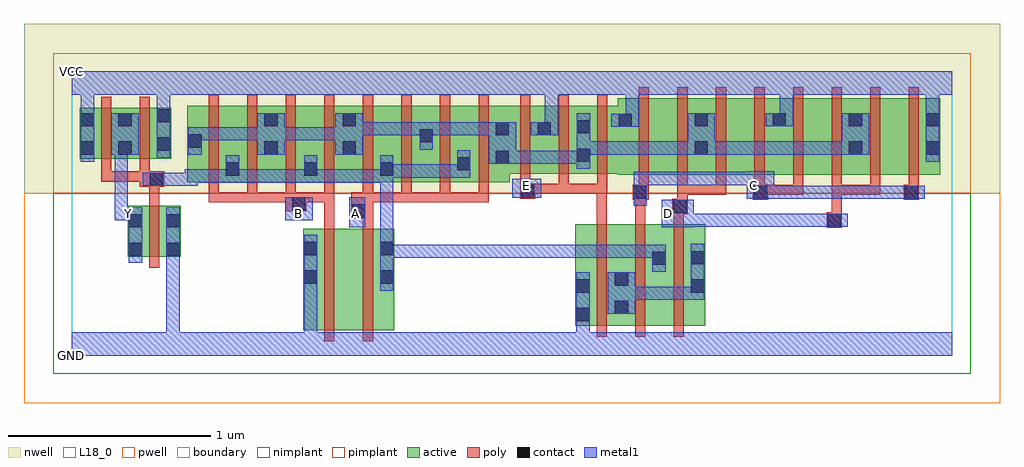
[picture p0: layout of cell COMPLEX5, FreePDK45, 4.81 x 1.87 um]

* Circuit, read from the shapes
.subckt COMPLEX5 A B C D E GND VCC Y
M1 GND n1 Y VSUBS nfet w=0.25u l=0.05u
M2 n2 B GND VSUBS nfet w=0.5u l=0.05u
M3 n1 A n2 VSUBS nfet w=0.5u l=0.05u
M4 n3 E GND VSUBS nfet w=0.5u l=0.05u
M5 n1 C n3 VSUBS nfet w=0.5u l=0.05u
M6 n3 D n1 VSUBS nfet w=0.5u l=0.05u
M7 Y n1 VCC n4 pfet w=0.25u l=0.05u m=2
M8 n1 B n5 n4 pfet w=0.375u l=0.05u m=4
M9 n1 A n5 n4 pfet w=0.375u l=0.05u m=4
M10 VCC E n5 n4 pfet w=0.333u l=0.05u m=3
M11 n6 C VCC n4 pfet w=0.375u l=0.05u
M12 n5 D n6 n4 pfet w=0.375u l=0.05u
M13 n7 D n5 n4 pfet w=0.375u l=0.05u
M14 VCC C n7 n4 pfet w=0.375u l=0.05u
M15 n8 C VCC n4 pfet w=0.375u l=0.05u
M16 n5 D n8 n4 pfet w=0.375u l=0.05u
M17 n9 D n5 n4 pfet w=0.375u l=0.05u
M18 VCC C n9 n4 pfet w=0.375u l=0.05u
.ends

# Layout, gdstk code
import gdstk
lib = gdstk.Library(unit=1e-6, precision=1e-09)
def R(c, l, rs):  # rectangles x0, y0, x1, y1
    for r in rs: c.add(gdstk.rectangle(r[:2], r[2:], *l))
def A(c, l, x, y, w, h, nx, ny, dx, dy):  # array of equal rectangles
    R(c, l, [(x+i*dx, y+j*dy, x+i*dx+w, y+j*dy+h) for i in range(nx) for j in range(ny)])
active = (1, 0)
pwell = (2, 0)
nwell = (3, 0)
nimplant = (4, 0)
pimplant = (5, 0)
poly = (9, 0)
contact = (10, 0)
metal1 = (11, 0)
L18_0 = (18, 0)
boundary = (235, 0)

complex5 = lib.new_cell('COMPLEX5')
R(complex5, active, [(1.14,0.125,1.365,0.625), (1.365,0.125,1.59,0.625), (2.482,0.147,2.747,0.647), (2.482,0.147,2.557,0.647), (2.672,0.147,2.932,0.647), (2.857,0.147,3.122,0.647), (2.672,0.2,2.747,0.592), (1.14,0.245,1.215,0.625), (1.515,0.245,1.59,0.625), (2.857,0.245,2.932,0.592), (3.047,0.245,3.122,0.647), (0.277,0.487,0.352,0.737), (0.277,0.487,0.537,0.737), (0.462,0.487,0.537,0.737), (0.57,0.855,0.83,1.23), (0.57,0.855,0.645,1.2), (0.755,0.855,1.02,1.23), (0.755,0.855,0.83,1.07), (0.945,0.855,1.215,1.23), (1.14,0.855,1.405,1.23), (1.14,0.855,1.215,1.07), (1.33,0.855,1.59,1.23), (1.515,0.855,1.785,1.23), (1.515,0.855,1.59,1.07), (1.71,0.855,1.97,1.23), (1.895,0.855,2.16,1.23), (2.69,0.892,2.915,1.267), (2.915,0.892,3.14,1.267), (3.065,0.892,3.295,1.267), (3.295,0.892,3.525,1.267), (3.45,0.892,3.675,1.267), (3.675,0.892,3.9,1.267), (3.825,0.892,4.055,1.267), (4.055,0.892,4.28,1.267), (4.205,0.892,4.28,1.23), (2.085,0.897,2.367,1.23), (2.292,0.897,2.56,1.23), (2.485,0.897,2.765,1.23), (1.895,0.907,1.97,1.07), (0.945,0.932,1.02,1.2), (1.33,0.932,1.405,1.2), (1.71,0.932,1.785,1.2), (3.065,0.932,3.14,1.2), (3.45,0.932,3.525,1.23), (3.825,0.932,3.9,1.2), (2.085,0.94,2.16,1.2), (2.485,0.95,2.56,1.2), (0.04,0.97,0.3,1.22), (0.04,0.97,0.115,1.2), (0.225,0.97,0.49,1.22), (0.225,0.97,0.3,1.2), (0.415,0.97,0.49,1.22), (2.292,0.975,2.367,1.187), (2.69,0.975,2.765,1.197)])
R(complex5, pwell, [(-0.235,-0.235,4.575,0.8)])
R(complex5, nwell, [(-0.235,0.8,4.575,1.635)])
R(complex5, nimplant, [(-0.09,-0.09,4.43,0.8)])
R(complex5, pimplant, [(-0.09,0.8,4.43,1.49)])
A(complex5, poly, 2.587, 0.092, 0.05, 0.61, 3, 1, 0.19, 0)
A(complex5, poly, 0.675, 0.755, 0.05, 0.095, 8, 1, 0.19, 0)
A(complex5, poly, 1.435, 0.755, 0.24, 0.05, 3, 1, 0.19, 0)
A(complex5, poly, 1.435, 0.755, 0.05, 0.05, 3, 1, 0.19, 0)
A(complex5, poly, 2.795, 0.792, 0.05, 0.095, 8, 1, 0.19, 0)
A(complex5, poly, 2.21, 0.797, 0.05, 0.095, 3, 1, 0.19, 0)
A(complex5, poly, 0.675, 0.8, 0.05, 0.485, 8, 1, 0.19, 0)
A(complex5, poly, 2.795, 0.837, 0.05, 0.485, 8, 1, 0.19, 0)
A(complex5, poly, 2.21, 0.842, 0.05, 0.443, 3, 1, 0.19, 0)
R(complex5, poly, [(1.245,0.07,1.295,0.68), (1.435,0.07,1.485,0.68), (0.382,0.432,0.432,0.792), (1.245,0.63,1.295,0.805), (1.435,0.63,1.485,0.725), (3.72,0.63,3.795,0.705), (2.587,0.652,2.637,0.847), (2.777,0.652,2.827,0.817), (2.967,0.652,3.017,0.747), (3.745,0.655,3.795,0.842), (1.377,0.675,1.485,0.805), (1.435,0.675,1.485,0.725), (1.435,0.675,1.485,0.725), (2.96,0.697,3.035,0.772), (1.055,0.71,1.157,0.805), (2.985,0.722,3.035,0.842), (0.382,0.742,0.432,0.882), (0.675,0.755,0.915,0.805), (0.675,0.755,0.725,0.805), (0.675,0.755,0.725,0.805), (0.675,0.755,0.725,0.805), (0.865,0.755,1.105,0.805), (0.865,0.755,0.915,0.805), (0.865,0.755,0.915,0.805), (0.865,0.755,0.915,0.805), (1.107,0.755,1.157,0.805), (1.107,0.755,1.157,0.805), (1.107,0.755,1.295,0.805), (1.245,0.755,1.295,0.805), (1.245,0.755,1.295,0.805), (1.245,0.755,1.295,0.805), (1.435,0.755,1.485,0.805), (1.815,0.755,1.865,0.805), (1.815,0.755,1.865,0.805), (2.005,0.755,2.055,0.805), (2.005,0.755,2.055,0.805), (2.005,0.755,2.055,0.805), (2.765,0.767,2.845,0.842), (2.777,0.767,2.827,0.817), (2.777,0.767,2.827,0.817), (3.357,0.767,3.432,0.842), (4.1,0.767,4.175,0.842), (2.21,0.772,2.285,0.847), (2.985,0.792,3.225,0.842), (2.985,0.792,3.035,0.842), (3.175,0.792,3.225,0.842), (3.175,0.792,3.225,0.842), (3.175,0.792,3.225,0.842), (3.382,0.792,3.432,0.842), (3.382,0.792,3.432,0.842), (3.382,0.792,3.605,0.842), (3.555,0.792,3.605,0.842), (3.745,0.792,3.985,0.842), (3.745,0.792,3.795,0.842), (3.745,0.792,3.795,0.842), (3.745,0.792,3.795,0.842), (3.935,0.792,3.985,0.842), (2.235,0.797,2.285,0.847), (2.235,0.797,2.285,0.847), (2.235,0.797,2.45,0.847), (2.4,0.797,2.45,0.847), (2.4,0.797,2.637,0.847), (2.587,0.797,2.637,0.847), (2.587,0.797,2.637,0.847), (2.587,0.797,2.637,0.847), (2.587,0.797,2.637,0.847), (2.587,0.797,2.64,0.847), (0.335,0.832,0.455,0.907), (0.382,0.832,0.432,0.882), (0.382,0.832,0.432,0.882), (0.145,0.857,0.385,0.907), (0.145,0.857,0.195,0.907), (0.145,0.857,0.195,0.907), (0.145,0.857,0.195,0.907), (0.145,0.857,0.195,0.965), (0.335,0.857,0.385,0.965), (0.145,0.915,0.195,1.275), (0.335,0.915,0.385,1.275)])
R(complex5, contact, [(2.487,0.17,2.552,0.235), (2.677,0.205,2.742,0.27), (2.487,0.31,2.552,0.375), (3.052,0.31,3.117,0.375), (2.677,0.345,2.742,0.41), (1.145,0.355,1.21,0.42), (1.52,0.355,1.585,0.42), (2.862,0.447,2.927,0.512), (3.052,0.45,3.117,0.515), (0.282,0.492,0.347,0.557), (0.467,0.492,0.532,0.557), (1.145,0.495,1.21,0.56), (1.52,0.495,1.585,0.56), (0.282,0.632,0.347,0.697), (0.467,0.632,0.532,0.697), (3.725,0.635,3.79,0.7), (1.382,0.68,1.447,0.745), (2.965,0.702,3.03,0.767), (1.087,0.715,1.152,0.78), (2.77,0.772,2.835,0.837), (3.362,0.772,3.427,0.837), (4.105,0.772,4.17,0.837), (2.215,0.777,2.28,0.842), (0.385,0.837,0.45,0.902), (0.76,0.887,0.825,0.952), (1.145,0.887,1.21,0.952), (1.52,0.887,1.585,0.952), (1.9,0.912,1.965,0.977), (2.09,0.945,2.155,1.01), (2.49,0.955,2.555,1.02), (0.045,0.99,0.11,1.055), (0.23,0.99,0.295,1.055), (0.95,0.99,1.015,1.055), (1.335,0.99,1.4,1.055), (3.07,0.99,3.135,1.055), (3.83,0.99,3.895,1.055), (4.21,0.99,4.275,1.055), (0.42,1.01,0.485,1.075), (0.575,1.025,0.64,1.09), (1.715,1.05,1.78,1.115), (2.09,1.085,2.155,1.15), (2.297,1.085,2.362,1.15), (2.49,1.095,2.555,1.16), (2.695,1.127,2.76,1.192), (0.045,1.13,0.11,1.195), (0.23,1.13,0.295,1.195), (0.95,1.13,1.015,1.195), (1.335,1.13,1.4,1.195), (3.07,1.13,3.135,1.195), (3.455,1.13,3.52,1.195), (3.83,1.13,3.895,1.195), (4.21,1.13,4.275,1.195), (0.42,1.15,0.485,1.215)])
R(complex5, metal1, [(0,0,4.34,0.115), (0.467,0.05,0.532,0.115), (0.467,0.05,0.532,0.115), (0.467,0.05,0.532,0.522), (1.145,0.05,1.21,0.115), (1.145,0.05,1.21,0.115), (1.145,0.05,1.21,0.385), (2.487,0.05,2.552,0.115), (2.487,0.05,2.552,0.115), (2.487,0.05,2.552,0.2), (2.487,0.135,2.552,0.41), (2.642,0.205,2.777,0.41), (2.712,0.275,2.777,0.34), (2.712,0.275,2.777,0.34), (2.712,0.275,2.927,0.34), (2.862,0.275,2.927,0.34), (2.862,0.275,3.117,0.34), (3.052,0.275,3.117,0.55), (3.052,0.275,3.117,0.34), (3.052,0.275,3.117,0.34), (1.145,0.32,1.21,0.595), (1.52,0.32,1.585,0.595), (2.862,0.412,2.927,0.547), (0.282,0.457,0.347,0.732), (0.467,0.457,0.532,0.732), (0.467,0.457,0.532,0.522), (0.467,0.457,0.532,0.522), (0.467,0.457,0.532,0.522), (0.467,0.457,0.532,0.522), (1.52,0.482,1.585,0.547), (1.52,0.482,1.585,0.547), (1.52,0.482,1.827,0.547), (1.762,0.482,1.827,0.547), (1.762,0.482,1.827,0.547), (1.762,0.482,1.827,0.547), (1.762,0.482,1.982,0.547), (1.917,0.482,1.982,0.547), (1.917,0.482,1.982,0.547), (1.917,0.482,1.982,0.547), (1.917,0.482,2.19,0.547), (2.125,0.482,2.19,0.547), (2.125,0.482,2.19,0.547), (2.125,0.482,2.19,0.547), (2.125,0.482,2.327,0.547), (2.262,0.482,2.327,0.547), (2.262,0.482,2.327,0.547), (2.262,0.482,2.327,0.547), (2.262,0.482,2.465,0.547), (2.4,0.482,2.465,0.547), (2.4,0.482,2.465,0.547), (2.4,0.482,2.465,0.547), (2.4,0.482,2.777,0.547), (2.712,0.482,2.777,0.547), (2.712,0.482,2.777,0.547), (2.712,0.482,2.777,0.547), (2.712,0.482,2.927,0.547), (1.52,0.53,1.585,0.595), (1.52,0.53,1.585,0.595), (1.52,0.53,1.585,0.595), (1.52,0.53,1.585,0.595), (1.52,0.53,1.585,0.917), (1.367,0.632,1.447,0.78), (2.907,0.632,3.065,0.767), (3,0.635,3.065,0.7), (3,0.635,3.065,0.7), (3,0.635,3.255,0.7), (3.19,0.635,3.255,0.7), (3.19,0.635,3.307,0.7), (3.242,0.635,3.307,0.7), (3.242,0.635,3.462,0.7), (3.397,0.635,3.462,0.7), (3.397,0.635,3.462,0.7), (3.397,0.635,3.462,0.7), (3.397,0.635,3.6,0.7), (3.535,0.635,3.6,0.7), (3.535,0.635,3.6,0.7), (3.535,0.635,3.6,0.7), (3.535,0.635,3.755,0.7), (3.69,0.635,3.825,0.7), (0.212,0.667,0.277,0.732), (0.212,0.667,0.277,0.732), (0.212,0.667,0.347,0.732), (0.212,0.667,0.277,1.055), (0.282,0.667,0.347,0.732), (1.052,0.667,1.187,0.78), (2.77,0.737,2.835,0.905), (3.327,0.772,3.462,0.907), (3.397,0.772,3.462,0.837), (3.397,0.772,3.462,0.837), (3.397,0.772,3.6,0.837), (3.535,0.772,3.6,0.837), (3.535,0.772,3.6,0.837), (3.535,0.772,3.6,0.837), (3.535,0.772,3.737,0.837), (3.672,0.772,3.737,0.837), (3.672,0.772,3.737,0.837), (3.672,0.772,3.737,0.837), (3.672,0.772,3.997,0.837), (3.932,0.772,3.997,0.837), (3.932,0.772,4.135,0.837), (4.07,0.772,4.135,0.837), (4.07,0.772,4.135,0.837), (4.07,0.772,4.205,0.837), (2.172,0.777,2.315,0.872), (0.35,0.837,0.485,0.902), (0.42,0.837,0.485,0.902), (0.42,0.837,0.485,0.902), (0.42,0.837,0.622,0.902), (0.557,0.837,0.622,0.902), (0.557,0.837,0.622,0.917), (2.77,0.84,2.915,0.905), (2.85,0.84,2.915,0.905), (2.85,0.84,3.117,0.905), (3.052,0.84,3.117,0.905), (3.052,0.84,3.117,0.905), (3.052,0.84,3.117,0.905), (3.052,0.84,3.255,0.905), (3.19,0.84,3.255,0.905), (3.19,0.84,3.307,0.905), (3.242,0.84,3.307,0.905), (3.242,0.84,3.392,0.905), (0.557,0.852,0.622,0.917), (0.557,0.852,0.622,0.917), (0.557,0.852,0.622,0.917), (0.557,0.852,0.825,0.917), (0.76,0.852,0.825,0.917), (0.76,0.852,0.825,0.917), (0.76,0.852,0.825,0.987), (0.76,0.852,1.072,0.917), (1.007,0.852,1.072,0.917), (1.007,0.852,1.072,0.917), (1.007,0.852,1.072,0.917), (1.007,0.852,1.21,0.917), (1.145,0.852,1.21,0.917), (1.145,0.852,1.21,0.917), (1.145,0.852,1.21,0.987), (1.145,0.852,1.447,0.917), (1.382,0.852,1.447,0.917), (1.382,0.852,1.447,0.917), (1.382,0.852,1.447,0.917), (1.382,0.852,1.585,0.917), (1.52,0.852,1.585,0.987), (1.52,0.877,1.585,0.942), (1.52,0.877,1.585,0.942), (1.52,0.877,1.827,0.942), (1.762,0.877,1.827,0.942), (1.762,0.877,1.827,0.942), (1.762,0.877,1.827,0.942), (1.762,0.877,1.965,0.942), (1.9,0.877,1.965,1.012), (2.49,0.92,2.555,1.195), (2.055,0.945,2.19,1.15), (2.125,0.945,2.19,1.01), (2.125,0.945,2.19,1.01), (2.125,0.945,2.19,1.01), (2.125,0.945,2.19,1.01), (2.125,0.945,2.327,1.01), (2.262,0.945,2.327,1.01), (2.262,0.945,2.327,1.01), (2.262,0.945,2.327,1.01), (2.262,0.945,2.555,1.01), (0.045,0.955,0.11,1.23), (4.21,0.955,4.275,1.23), (0.42,0.975,0.485,1.25), (0.195,0.99,0.33,1.195), (0.575,0.99,0.64,1.125), (0.915,0.99,1.05,1.195), (1.3,0.99,1.435,1.195), (2.49,0.99,2.555,1.055), (2.49,0.99,2.555,1.055), (2.49,0.99,2.777,1.055), (2.712,0.99,2.777,1.055), (2.712,0.99,2.777,1.055), (2.712,0.99,2.777,1.055), (2.712,0.99,2.927,1.055), (2.862,0.99,2.927,1.055), (2.862,0.99,3.1,1.055), (3.035,0.99,3.1,1.055), (3.035,0.99,3.1,1.055), (3.035,0.99,3.17,1.195), (3.105,0.99,3.255,1.055), (3.19,0.99,3.255,1.055), (3.19,0.99,3.325,1.055), (3.26,0.99,3.325,1.055), (3.26,0.99,3.462,1.055), (3.397,0.99,3.462,1.055), (3.397,0.99,3.462,1.055), (3.397,0.99,3.462,1.055), (3.397,0.99,3.6,1.055), (3.535,0.99,3.6,1.055), (3.535,0.99,3.6,1.055), (3.535,0.99,3.6,1.055), (3.535,0.99,3.86,1.055), (3.795,0.99,3.86,1.055), (3.795,0.99,3.86,1.055), (3.795,0.99,3.93,1.195), (1.715,1.015,1.78,1.15), (0.575,1.06,0.64,1.125), (0.575,1.06,0.64,1.125), (0.575,1.06,0.842,1.125), (0.777,1.06,0.842,1.125), (0.777,1.06,0.842,1.125), (0.777,1.06,0.842,1.125), (0.777,1.06,0.98,1.125), (0.985,1.06,1.05,1.125), (0.985,1.06,1.05,1.125), (0.985,1.06,1.227,1.125), (1.162,1.06,1.227,1.125), (1.162,1.06,1.227,1.125), (1.162,1.06,1.227,1.125), (1.162,1.06,1.365,1.125), (1.37,1.085,1.435,1.15), (1.37,1.085,1.435,1.15), (1.37,1.085,1.585,1.15), (1.52,1.085,1.585,1.15), (1.52,1.085,1.585,1.15), (1.52,1.085,1.585,1.15), (1.52,1.085,1.78,1.15), (1.715,1.085,1.78,1.15), (1.715,1.085,1.78,1.15), (1.715,1.085,1.982,1.15), (1.917,1.085,1.982,1.15), (1.917,1.085,1.982,1.15), (1.917,1.085,1.982,1.15), (1.917,1.085,2.12,1.15), (2.262,1.085,2.397,1.15), (2.332,1.085,2.397,1.35), (2.66,1.127,2.795,1.192), (2.73,1.127,2.795,1.35), (3.42,1.13,3.555,1.195), (3.49,1.13,3.555,1.35), (0.045,1.165,0.11,1.35), (0.045,1.165,0.11,1.23), (0.045,1.165,0.11,1.23), (4.21,1.165,4.275,1.35), (0.42,1.185,0.485,1.35), (0,1.285,4.34,1.4), (0.42,1.285,0.485,1.35), (0.42,1.285,0.485,1.35)])
A(complex5, L18_0, 0.212, 0.667, 0.065, 0.065, 3, 1, 0.035, 0)
R(complex5, L18_0, [(0,0,4.34,0.115), (0.467,0.05,0.532,0.115), (0.467,0.05,0.532,0.115), (0.467,0.05,0.532,0.522), (1.145,0.05,1.21,0.115), (1.145,0.05,1.21,0.115), (1.145,0.05,1.21,0.385), (2.487,0.05,2.552,0.115), (2.487,0.05,2.552,0.115), (2.487,0.05,2.552,0.2), (2.487,0.135,2.552,0.41), (1.145,0.32,1.21,0.595), (0.282,0.457,0.347,0.732), (0.467,0.457,0.532,0.732), (0.467,0.457,0.532,0.522), (0.467,0.457,0.532,0.522), (0.467,0.457,0.532,0.522), (0.467,0.457,0.532,0.522), (1.367,0.632,1.447,0.78), (2.907,0.632,3.065,0.767), (3,0.635,3.065,0.7), (3,0.635,3.065,0.7), (3,0.635,3.255,0.7), (3.19,0.635,3.255,0.7), (3.19,0.635,3.307,0.7), (3.242,0.635,3.307,0.7), (3.242,0.635,3.462,0.7), (3.397,0.635,3.462,0.7), (3.397,0.635,3.462,0.7), (3.397,0.635,3.462,0.7), (3.397,0.635,3.6,0.7), (3.535,0.635,3.6,0.7), (3.535,0.635,3.6,0.7), (3.535,0.635,3.6,0.7), (3.535,0.635,3.755,0.7), (3.69,0.635,3.825,0.7), (0.212,0.667,0.277,0.732), (0.212,0.667,0.347,0.732), (0.212,0.667,0.277,1.055), (1.052,0.667,1.187,0.78), (1.087,0.667,1.152,0.732), (1.367,0.667,1.432,0.732), (2.907,0.667,2.972,0.732), (2.77,0.737,2.835,0.905), (3.327,0.772,3.462,0.907), (3.397,0.772,3.462,0.837), (3.397,0.772,3.462,0.837), (3.397,0.772,3.6,0.837), (3.535,0.772,3.6,0.837), (3.535,0.772,3.6,0.837), (3.535,0.772,3.6,0.837), (3.535,0.772,3.737,0.837), (3.672,0.772,3.737,0.837), (3.672,0.772,3.737,0.837), (3.672,0.772,3.737,0.837), (3.672,0.772,3.997,0.837), (3.932,0.772,3.997,0.837), (3.932,0.772,4.135,0.837), (4.07,0.772,4.135,0.837), (4.07,0.772,4.135,0.837), (4.07,0.772,4.205,0.837), (2.172,0.777,2.315,0.872), (2.207,0.807,2.272,0.872), (3.327,0.807,3.392,0.872), (2.77,0.84,2.915,0.905), (2.85,0.84,2.915,0.905), (2.85,0.84,3.117,0.905), (3.052,0.84,3.117,0.905), (3.052,0.84,3.117,0.905), (3.052,0.84,3.117,0.905), (3.052,0.84,3.255,0.905), (3.19,0.84,3.255,0.905), (3.19,0.84,3.307,0.905), (3.242,0.84,3.307,0.905), (3.242,0.84,3.392,0.905), (0.045,0.955,0.11,1.23), (4.21,0.955,4.275,1.23), (0.42,0.975,0.485,1.25), (0.195,0.99,0.33,1.195), (2.262,1.085,2.397,1.15), (2.332,1.085,2.397,1.35), (2.66,1.127,2.795,1.192), (2.73,1.127,2.795,1.35), (3.42,1.13,3.555,1.195), (3.49,1.13,3.555,1.35), (0.045,1.165,0.11,1.23), (0.045,1.165,0.11,1.23), (0.045,1.165,0.11,1.35), (4.21,1.165,4.275,1.35), (0.42,1.185,0.485,1.35), (0,1.285,4.34,1.4), (0.42,1.285,0.485,1.35), (0.42,1.285,0.485,1.35)])
R(complex5, boundary, [(0,0,4.34,1.4)])
complex5.add(gdstk.Label('A', (1.4,0.7), layer=11, texttype=0))
complex5.add(gdstk.Label('B', (1.12,0.7), layer=11, texttype=0))
complex5.add(gdstk.Label('C', (3.36,0.84), layer=11, texttype=0))
complex5.add(gdstk.Label('D', (2.94,0.7), layer=11, texttype=0))
complex5.add(gdstk.Label('E', (2.24,0.84), layer=11, texttype=0))
complex5.add(gdstk.Label('Y', (0.28,0.7), layer=11, texttype=0))
complex5.add(gdstk.Label('VCC', (0,1.4), layer=11, texttype=0))
complex5.add(gdstk.Label('GND', (0,0), layer=11, texttype=0))

lib.write_gds('COMPLEX5.gds')
